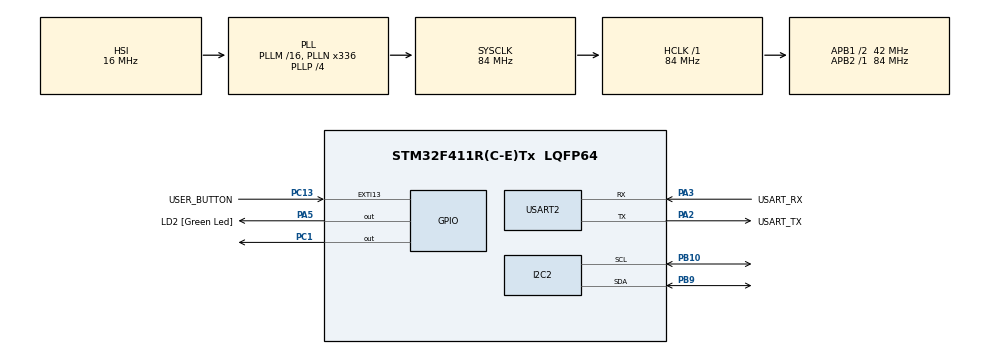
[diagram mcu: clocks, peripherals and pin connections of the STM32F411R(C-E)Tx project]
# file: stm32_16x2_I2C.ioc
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Mcu.Family=STM32F4
Mcu.Name=STM32F411R(C-E)Tx
Mcu.Package=LQFP64
NVIC.EXTI15_10_IRQn=true\:0\:0\:false\:false\:true\:true\:true\:true
NVIC.PriorityGroup=NVIC_PRIORITYGROUP_0
PA13.GPIO_Label=TMS
PA13.Mode=Serial_Wire
PA13.Signal=SYS_JTMS-SWDIO
PA14.GPIO_Label=TCK
PA14.Mode=Serial_Wire
PA14.Signal=SYS_JTCK-SWCLK
PA2.GPIO_Label=USART_TX
PA2.Mode=Asynchronous
PA2.Signal=USART2_TX
PA3.GPIO_Label=USART_RX
PA3.Mode=Asynchronous
PA3.Signal=USART2_RX
PA5.GPIO_Label=LD2 [Green Led]
PA5.Signal=GPIO_Output
PB10.Mode=I2C
PB10.Signal=I2C2_SCL
PB3.GPIO_Label=SWO
PB3.Signal=SYS_JTDO-SWO
PB9.Mode=I2C
PB9.Signal=I2C2_SDA
PC1.GPIO_ModeDefaultOutputPP=GPIO_MODE_OUTPUT_OD
PC1.GPIO_PuPd=GPIO_NOPULL
PC1.PinState=GPIO_PIN_SET
PC1.Signal=GPIO_Output
PC13-ANTI_TAMP.GPIO_Label=USER_BUTTON
PC13-ANTI_TAMP.GPIO_ModeDefaultEXTI=GPIO_MODE_IT_RISING_FALLING
PC13-ANTI_TAMP.Signal=GPXTI13
PC14-OSC32_IN.Mode=LSE-External-Oscillator
PC14-OSC32_IN.Signal=RCC_OSC32_IN
PC15-OSC32_OUT.Mode=LSE-External-Oscillator
PC15-OSC32_OUT.Signal=RCC_OSC32_OUT
PH0\ -\ OSC_IN.Mode=HSE-External-Clock-Source
PH0\ -\ OSC_IN.Signal=RCC_OSC_IN
PH1\ -\ OSC_OUT.Mode=HSE-External-Clock-Source
PH1\ -\ OSC_OUT.Signal=RCC_OSC_OUT
ProjectManager.HeapSize=0x200
ProjectManager.StackSize=0x400
ProjectManager.TargetToolchain=STM32CubeIDE
RCC.48MHZClocksFreq_Value=84000000
RCC.AHBFreq_Value=84000000
RCC.APB1CLKDivider=RCC_HCLK_DIV2
RCC.APB1Freq_Value=42000000
RCC.APB1TimFreq_Value=84000000
RCC.APB2Freq_Value=84000000
RCC.APB2TimFreq_Value=84000000
RCC.CortexFreq_Value=84000000
RCC.FLatency-AdvancedSettings=FLASH_LATENCY_2
RCC.HCLKFreq_Value=84000000
RCC.HSE_VALUE=8000000
RCC.HSI_VALUE=16000000
RCC.PLLN=336
RCC.PLLP=RCC_PLLP_DIV4
RCC.SYSCLKFreq_VALUE=84000000
RCC.SYSCLKSource=RCC_SYSCLKSOURCE_PLLCLK
RCC.VCOOutputFreq_Value=336000000
TIM1.AutoReloadPreload=TIM_AUTORELOAD_PRELOAD_ENABLE
TIM1.Period=0xffff-1
TIM1.Prescaler=84-1
TIM3.Channel-Output\ Compare1\ No\ Output=TIM_CHANNEL_1
TIM3.Period=1000-1
TIM3.Prescaler=8400-1
USART2.VirtualMode=VM_ASYNC
VP_TIM1_VS_ClockSourceINT.Mode=Internal
VP_TIM3_VS_ClockSourceINT.Mode=Internal
VP_TIM3_VS_no_output1.Mode=Output Compare1 No Output
board=NUCLEO-F411RE

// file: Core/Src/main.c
/* USER CODE BEGIN Header */
/**
  ******************************************************************************
  * @file           : main.c
  * @brief          : Main program body
  ******************************************************************************
  * @attention
  *
  * Copyright (c) 2023 STMicroelectronics.
  * All rights reserved.
  *
  * This software is licensed under terms that can be found in the LICENSE file
  * in the root directory of this software component.
  * If no LICENSE file comes with this software, it is provided AS-IS.
  *
  ******************************************************************************
  */
/* USER CODE END Header */
#include "main.h"

/* USER CODE BEGIN Includes */
#include "i2c-lcd.h"
#include "onewire.h"
#include "ds18b20.h"
/* USER CODE END Includes */

/* USER CODE BEGIN PD */
#define DISPLAY_MODES_NUMBER 1 //counted from 0
#define OPTIONS_COUNTS 4
#define true 1
#define false 0
/* USER CODE END PD */

I2C_HandleTypeDef hi2c2;

TIM_HandleTypeDef htim1;
TIM_HandleTypeDef htim3;

UART_HandleTypeDef huart2;

/* USER CODE BEGIN PV */
volatile uint8_t shortPressCounter = 1;
volatile uint8_t longPressCounter = 0;
volatile uint32_t buttonPressStartTime = 0;
volatile uint32_t buttonPressDuration = 0;
float temperature;
char message[64];

enum display_mode{
	DISPLAY_MENU,
	DISPLAY_DS18B20
};

enum options_tabs{
	OPTION_UKNOWN = 0,
	OPTION_SHOW_SENSOR_COUNT = 1,
	OPTION_SHOW_SENSOR_RESOLUTION = 2,
	OPTION_SHOW_HAL_VERSION = 3,
	OPTION_SHOW_DEVICE_AUTHOR = 4
};
enum display_mode selected_display_mode;

/* USER CODE END PV */

void SystemClock_Config(void);
static void MX_GPIO_Init(void);
static void MX_USART2_UART_Init(void);
static void MX_I2C2_Init(void);
static void MX_TIM3_Init(void);
static void MX_TIM1_Init(void);

/* USER CODE BEGIN 0 */
int __io_putchar(int ch)
{
	if(ch == '\n'){
		uint8_t ch2 ='\r';
		HAL_UART_Transmit(&huart2, &ch2, 1, HAL_MAX_DELAY); //automatically add '/r/n' characters when encountered at the \n
	}
    HAL_UART_Transmit(&huart2, (uint8_t*)&ch, 1, HAL_MAX_DELAY);
    return 1;
}

void HAL_GPIO_EXTI_Callback(uint16_t GPIO_Pin)
{
  if (GPIO_Pin == USER_BUTTON_Pin) {
//	  if(pin_counter<MAX_OPTION_CHANGED_BY_USER_BUTTON){
//		  pin_counter++;
//	  } else {
//		  pin_counter = 0;
//	  }
	    if (HAL_GPIO_ReadPin(GPIOC, GPIO_PIN_13) == GPIO_PIN_RESET)
	    {
	      // The button has been pressed.sloping slope
	      buttonPressStartTime = HAL_GetTick();
	    }
	    else
	    {
	      // The button has been released. rising slope
	      buttonPressDuration = HAL_GetTick() - buttonPressStartTime;
	    }
  }
}

void delay (uint16_t time)
{
	/* change your code here for the delay in microseconds */
	__HAL_TIM_SET_COUNTER(&htim1, 0);
	while ((__HAL_TIM_GET_COUNTER(&htim1))<time);
}

/* USER CODE END 0 */

int main(void)
{

  /* MCU Configuration--------------------------------------------------------*/

  /* Reset of all peripherals, Initializes the Flash interface and the Systick. */
  HAL_Init();

  /* Configure the system clock */
  SystemClock_Config();

  /* Initialize all configured peripherals */
  MX_GPIO_Init();
  MX_USART2_UART_Init();
  MX_I2C2_Init();
  MX_TIM3_Init();
  MX_TIM1_Init();
  /* USER CODE BEGIN 2 */
  HAL_TIM_Base_Start(&htim1);
  lcd_init ();
  lcd_clear();
  lcd_put_cur(0, 0);
  lcd_send_string ("LCD temp");

  HAL_Delay(1000);

  lcd_put_cur(1, 0);

  lcd_send_string("by M.Posadowski");

  HAL_Delay(1000);

  lcd_clear ();

  DS18B20_Init(DS18B20_Resolution_12bits);

  uint8_t ds18b20_sensor_count = DS18B20_Quantity();

  lcd_display_ds18b20_count(ds18b20_sensor_count);
  HAL_Delay(1000);
  float *ds_18b20_tenp_old;

  ds_18b20_tenp_old= (float *)malloc(ds18b20_sensor_count * sizeof(float));

  if (ds_18b20_tenp_old == NULL) {
	  lcd_clear();
	  lcd_put_cur(0,0);
	  lcd_send_string("Memory Error");
      printf("Memory allocation error.\n");
     while(1){

     }
  } else {
	   for (int i = 0; i < ds18b20_sensor_count; i++) {
		   ds_18b20_tenp_old[i] = 0;
	    }
  }

  selected_display_mode = DISPLAY_DS18B20;
  /* USER CODE END 2 */

  /* Infinite loop */
  /* USER CODE BEGIN WHILE */
  //uint8_t shortPressCounter_old, longPressCounter_old  = 0;
  uint8_t option_show = false;
  while (1)
  {
    /* USER CODE END WHILE */

    /* USER CODE BEGIN 3 */
	  if (buttonPressDuration >= 1000) {
	       if(longPressCounter<DISPLAY_MODES_NUMBER){
	    	   longPressCounter++;
	    	   selected_display_mode = DISPLAY_MENU;
	       } else {
	    	   selected_display_mode = DISPLAY_DS18B20;
	    	   uint8_t i = 0;
	    	   for(i = 0; i < ds18b20_sensor_count; i++){
	    		   ds_18b20_tenp_old[i] = 0; // reset array to proper display after switching dispaly_mode
	    	   	}
	    	   longPressCounter = 0;
	       }
	       buttonPressDuration = 0;
	     } else if (buttonPressDuration > 100) {
		       if(shortPressCounter<OPTIONS_COUNTS){
		    	   shortPressCounter++;
		       } else {
		    	   shortPressCounter = 1;
		       }
		       buttonPressDuration = 0;
		       option_show = false;
	     }
	  switch (selected_display_mode){
	  	  case DISPLAY_MENU:
	  		  if(!option_show){
				  switch(shortPressCounter){
				  case OPTION_SHOW_SENSOR_COUNT:
					  lcd_display_ds18b20_count(ds18b20_sensor_count);
					  break;
				  case OPTION_SHOW_SENSOR_RESOLUTION:
					  lcd_clear();
					  lcd_put_cur(0,0);
					  lcd_send_string("DS18B20 ");
					  lcd_put_cur(1,0);
					  lcd_send_string("Res. 12bits");
					  break;
				  case OPTION_SHOW_HAL_VERSION:
					  lcd_clear();
					  lcd_put_cur(0,0);
					  char hal_version_string[16];
					  snprintf(hal_version_string, sizeof(hal_version_string), "HAL ver. %lu",HAL_GetHalVersion());
					  lcd_send_string(hal_version_string);
					  break;
				  case OPTION_SHOW_DEVICE_AUTHOR:
					  lcd_clear();
					  lcd_put_cur(0,0);
					  lcd_send_string ("LCD temp");
					  HAL_Delay(1000);
					  lcd_put_cur(1, 0);
					  lcd_send_string("by M.Posadowski");
					  break;
				  case OPTION_UKNOWN:
					  lcd_clear();
					  lcd_put_cur(0,0);
					  lcd_send_string("Unknown option ");
					  lcd_put_cur(1,0);
					  lcd_send_string("     ERROR!");
					  break;
				  default:
					  lcd_clear();
					  lcd_put_cur(0,0);
					  lcd_send_string("Unknown option ");
					  lcd_put_cur(1,0);
					  lcd_send_string("     ERROR!");
				  }
				  option_show = true;
	  		  }
		  	  break;
	  	  case DISPLAY_DS18B20:
	  		  DS18B20_ReadAll();
	  	      DS18B20_StartAll();
	  			uint8_t i;
	  		for(i = 0; i < ds18b20_sensor_count; i++)
	  			{
	  				if(DS18B20_GetTemperature(i, &temperature))
	  				{
	  					if(ds_18b20_tenp_old[i] != temperature){
							lcd_clear();
							lcd_put_cur(0,0);
							char ds18b20_data_to_send[16];
							snprintf(ds18b20_data_to_send, sizeof(ds18b20_data_to_send), "%u DS18B20",i);
							lcd_send_string((ds18b20_sensor_count > 1 ? ds18b20_data_to_send: "DS18B20" ));
							lcd_display_ds18b20(temperature);
	  					}
	  					ds_18b20_tenp_old[i] = temperature;
	  				}
	  			}

	  			  break;
	  	  default:
	  		  	  lcd_clear();
				  lcd_put_cur(0,0);
				  char default_data_to_send[20];
				  snprintf(default_data_to_send, sizeof(default_data_to_send), "ERROR");
				  lcd_send_string(default_data_to_send);
	  }
		  //longPressCounter_old = longPressCounter;
		  HAL_Delay(1000);

  }
  /* USER CODE END 3 */
}

void SystemClock_Config(void)
{
  RCC_OscInitTypeDef RCC_OscInitStruct = {0};
  RCC_ClkInitTypeDef RCC_ClkInitStruct = {0};

  /** Configure the main internal regulator output voltage
  */
  __HAL_RCC_PWR_CLK_ENABLE();
  __HAL_PWR_VOLTAGESCALING_CONFIG(PWR_REGULATOR_VOLTAGE_SCALE1);

  /** Initializes the RCC Oscillators according to the specified parameters
  * in the RCC_OscInitTypeDef structure.
  */
  RCC_OscInitStruct.OscillatorType = RCC_OSCILLATORTYPE_HSI;
  RCC_OscInitStruct.HSIState = RCC_HSI_ON;
  RCC_OscInitStruct.HSICalibrationValue = RCC_HSICALIBRATION_DEFAULT;
  RCC_OscInitStruct.PLL.PLLState = RCC_PLL_ON;
  RCC_OscInitStruct.PLL.PLLSource = RCC_PLLSOURCE_HSI;
  RCC_OscInitStruct.PLL.PLLM = 16;
  RCC_OscInitStruct.PLL.PLLN = 336;
  RCC_OscInitStruct.PLL.PLLP = RCC_PLLP_DIV4;
  RCC_OscInitStruct.PLL.PLLQ = 4;
  if (HAL_RCC_OscConfig(&RCC_OscInitStruct) != HAL_OK)
  {
    Error_Handler();
  }

  /** Initializes the CPU, AHB and APB buses clocks
  */
  RCC_ClkInitStruct.ClockType = RCC_CLOCKTYPE_HCLK|RCC_CLOCKTYPE_SYSCLK
                              |RCC_CLOCKTYPE_PCLK1|RCC_CLOCKTYPE_PCLK2;
  RCC_ClkInitStruct.SYSCLKSource = RCC_SYSCLKSOURCE_PLLCLK;
  RCC_ClkInitStruct.AHBCLKDivider = RCC_SYSCLK_DIV1;
  RCC_ClkInitStruct.APB1CLKDivider = RCC_HCLK_DIV2;
  RCC_ClkInitStruct.APB2CLKDivider = RCC_HCLK_DIV1;

  if (HAL_RCC_ClockConfig(&RCC_ClkInitStruct, FLASH_LATENCY_2) != HAL_OK)
  {
    Error_Handler();
  }
}

static void MX_I2C2_Init(void)
{

  hi2c2.Instance = I2C2;
  hi2c2.Init.ClockSpeed = 100000;
  hi2c2.Init.DutyCycle = I2C_DUTYCYCLE_2;
  hi2c2.Init.OwnAddress1 = 0;
  hi2c2.Init.AddressingMode = I2C_ADDRESSINGMODE_7BIT;
  hi2c2.Init.DualAddressMode = I2C_DUALADDRESS_DISABLE;
  hi2c2.Init.OwnAddress2 = 0;
  hi2c2.Init.GeneralCallMode = I2C_GENERALCALL_DISABLE;
  hi2c2.Init.NoStretchMode = I2C_NOSTRETCH_DISABLE;
  if (HAL_I2C_Init(&hi2c2) != HAL_OK)
  {
    Error_Handler();
  }

}

static void MX_TIM1_Init(void)
{

  TIM_ClockConfigTypeDef sClockSourceConfig = {0};
  TIM_MasterConfigTypeDef sMasterConfig = {0};

  htim1.Instance = TIM1;
  htim1.Init.Prescaler = 84-1;
  htim1.Init.CounterMode = TIM_COUNTERMODE_UP;
  htim1.Init.Period = 0xffff-1;
  htim1.Init.ClockDivision = TIM_CLOCKDIVISION_DIV1;
  htim1.Init.RepetitionCounter = 0;
  htim1.Init.AutoReloadPreload = TIM_AUTORELOAD_PRELOAD_ENABLE;
  if (HAL_TIM_Base_Init(&htim1) != HAL_OK)
  {
    Error_Handler();
  }
  sClockSourceConfig.ClockSource = TIM_CLOCKSOURCE_INTERNAL;
  if (HAL_TIM_ConfigClockSource(&htim1, &sClockSourceConfig) != HAL_OK)
  {
    Error_Handler();
  }
  sMasterConfig.MasterOutputTrigger = TIM_TRGO_RESET;
  sMasterConfig.MasterSlaveMode = TIM_MASTERSLAVEMODE_DISABLE;
  if (HAL_TIMEx_MasterConfigSynchronization(&htim1, &sMasterConfig) != HAL_OK)
  {
    Error_Handler();
  }

}

static void MX_TIM3_Init(void)
{

  TIM_ClockConfigTypeDef sClockSourceConfig = {0};
  TIM_MasterConfigTypeDef sMasterConfig = {0};
  TIM_OC_InitTypeDef sConfigOC = {0};

  htim3.Instance = TIM3;
  htim3.Init.Prescaler = 8400-1;
  htim3.Init.CounterMode = TIM_COUNTERMODE_UP;
  htim3.Init.Period = 1000-1;
  htim3.Init.ClockDivision = TIM_CLOCKDIVISION_DIV1;
  htim3.Init.AutoReloadPreload = TIM_AUTORELOAD_PRELOAD_DISABLE;
  if (HAL_TIM_Base_Init(&htim3) != HAL_OK)
  {
    Error_Handler();
  }
  sClockSourceConfig.ClockSource = TIM_CLOCKSOURCE_INTERNAL;
  if (HAL_TIM_ConfigClockSource(&htim3, &sClockSourceConfig) != HAL_OK)
  {
    Error_Handler();
  }
  if (HAL_TIM_OC_Init(&htim3) != HAL_OK)
  {
    Error_Handler();
  }
  sMasterConfig.MasterOutputTrigger = TIM_TRGO_RESET;
  sMasterConfig.MasterSlaveMode = TIM_MASTERSLAVEMODE_DISABLE;
  if (HAL_TIMEx_MasterConfigSynchronization(&htim3, &sMasterConfig) != HAL_OK)
  {
    Error_Handler();
  }
  sConfigOC.OCMode = TIM_OCMODE_TIMING;
  sConfigOC.Pulse = 0;
  sConfigOC.OCPolarity = TIM_OCPOLARITY_HIGH;
  sConfigOC.OCFastMode = TIM_OCFAST_DISABLE;
  if (HAL_TIM_OC_ConfigChannel(&htim3, &sConfigOC, TIM_CHANNEL_1) != HAL_OK)
  {
    Error_Handler();
  }

}

static void MX_USART2_UART_Init(void)
{

  huart2.Instance = USART2;
  huart2.Init.BaudRate = 115200;
  huart2.Init.WordLength = UART_WORDLENGTH_8B;
  huart2.Init.StopBits = UART_STOPBITS_1;
  huart2.Init.Parity = UART_PARITY_NONE;
  huart2.Init.Mode = UART_MODE_TX_RX;
  huart2.Init.HwFlowCtl = UART_HWCONTROL_NONE;
  huart2.Init.OverSampling = UART_OVERSAMPLING_16;
  if (HAL_UART_Init(&huart2) != HAL_OK)
  {
    Error_Handler();
  }

}

static void MX_GPIO_Init(void)
{
  GPIO_InitTypeDef GPIO_InitStruct = {0};

  /* GPIO Ports Clock Enable */
  __HAL_RCC_GPIOC_CLK_ENABLE();
  __HAL_RCC_GPIOH_CLK_ENABLE();
  __HAL_RCC_GPIOA_CLK_ENABLE();
  __HAL_RCC_GPIOB_CLK_ENABLE();

  /*Configure GPIO pin Output Level */
  HAL_GPIO_WritePin(GPIOC, GPIO_PIN_1, GPIO_PIN_SET);

  /*Configure GPIO pin Output Level */
  HAL_GPIO_WritePin(LD2_GPIO_Port, LD2_Pin, GPIO_PIN_RESET);

  /*Configure GPIO pin : USER_BUTTON_Pin */
  GPIO_InitStruct.Pin = USER_BUTTON_Pin;
  GPIO_InitStruct.Mode = GPIO_MODE_IT_RISING_FALLING;
  GPIO_InitStruct.Pull = GPIO_NOPULL;
  HAL_GPIO_Init(USER_BUTTON_GPIO_Port, &GPIO_InitStruct);

  /*Configure GPIO pin : PC1 */
  GPIO_InitStruct.Pin = GPIO_PIN_1;
  GPIO_InitStruct.Mode = GPIO_MODE_OUTPUT_OD;
  GPIO_InitStruct.Pull = GPIO_NOPULL;
  GPIO_InitStruct.Speed = GPIO_SPEED_FREQ_LOW;
  HAL_GPIO_Init(GPIOC, &GPIO_InitStruct);

  /*Configure GPIO pin : LD2_Pin */
  GPIO_InitStruct.Pin = LD2_Pin;
  GPIO_InitStruct.Mode = GPIO_MODE_OUTPUT_PP;
  GPIO_InitStruct.Pull = GPIO_NOPULL;
  GPIO_InitStruct.Speed = GPIO_SPEED_FREQ_LOW;
  HAL_GPIO_Init(LD2_GPIO_Port, &GPIO_InitStruct);

  /* EXTI interrupt init*/
  HAL_NVIC_SetPriority(EXTI15_10_IRQn, 0, 0);
  HAL_NVIC_EnableIRQ(EXTI15_10_IRQn);

}

void Error_Handler(void)
{
  __disable_irq();
  while (1)
  {
  }
}
